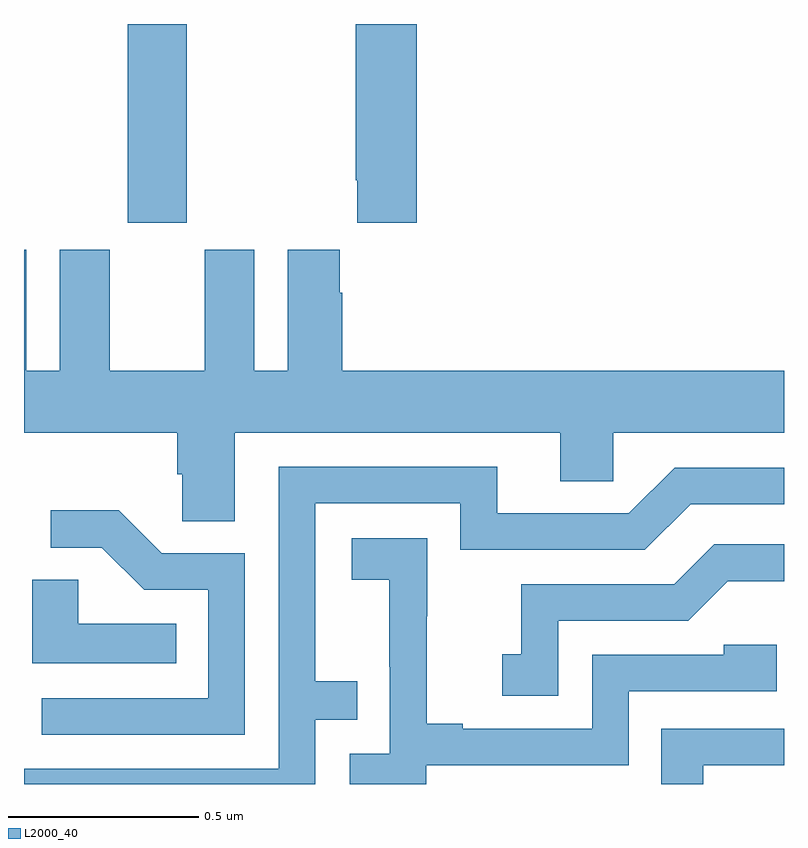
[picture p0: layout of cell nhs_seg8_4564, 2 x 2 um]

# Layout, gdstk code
import gdstk
lib = gdstk.Library(unit=1e-6, precision=1e-09)
def R(c, l, rs):  # rectangles x0, y0, x1, y1
    for r in rs: c.add(gdstk.rectangle(r[:2], r[2:], *l))
def P(c, l, *ps):  # polygons
    for p in ps: c.add(gdstk.Polygon(p, *l))
L2000_40 = (2000, 40)

nhs_seg8_4564 = lib.new_cell('nhs_seg8_4564')
R(nhs_seg8_4564, L2000_40, [(172.273,1126.377,172.428,1126.9)])
P(nhs_seg8_4564, L2000_40, [(173.033,1126.9),(172.873,1126.9),(172.873,1126.489),(172.877,1126.489),(172.877,1126.377),(173.033,1126.377)],
  [(172.555,1125.824),(173.411,1125.824),(173.411,1125.697),(173.55,1125.697),(173.55,1125.824),(174,1125.824),(174,1125.988),(172.838,1125.988),(172.838,1126.193),(172.831,1126.193),(172.831,1126.306),(172.694,1126.306),(172.694,1125.988),(172.606,1125.988),(172.606,1126.306),(172.475,1126.306),(172.475,1125.988),(172.225,1125.988),(172.225,1126.306),(172.094,1126.306),(172.094,1125.988),(172.006,1125.988),(172.006,1126.306),(172,1126.306),(172,1125.824),(172.403,1125.824),(172.403,1125.715),(172.416,1125.715),(172.416,1125.592),(172.555,1125.592)],
  [(172.767,1125.069),(172.877,1125.069),(172.877,1125.17),(172.767,1125.17),(172.767,1125.639),(173.148,1125.639),(173.148,1125.516),(173.634,1125.516),(173.754,1125.636),(174,1125.636),(174,1125.732),(173.712,1125.732),(173.592,1125.612),(173.245,1125.612),(173.245,1125.735),(172.671,1125.735),(172.671,1124.94),(172,1124.94),(172,1124.9),(172.767,1124.9)],
  [(172.581,1125.507),(172.362,1125.507),(172.249,1125.62),(172.071,1125.62),(172.071,1125.522),(172.205,1125.522),(172.316,1125.411),(172.485,1125.411),(172.485,1125.126),(172.047,1125.126),(172.047,1125.03),(172.581,1125.03)],
  [(173.058,1124.949),(173.592,1124.949),(173.592,1125.144),(173.981,1125.144),(173.981,1125.267),(173.841,1125.267),(173.841,1125.24),(173.496,1125.24),(173.496,1125.045),(173.155,1125.045),(173.155,1125.058),(173.06,1125.058),(173.06,1125.341),(173.061,1125.341),(173.061,1125.547),(172.863,1125.547),(172.863,1125.437),(172.961,1125.437),(172.961,1125.209),(172.962,1125.209),(172.962,1124.979),(172.857,1124.979),(172.857,1124.9),(173.058,1124.9)],
  [(173.406,1125.33),(173.748,1125.33),(173.852,1125.434),(174,1125.434),(174,1125.531),(173.816,1125.531),(173.711,1125.426),(173.308,1125.426),(173.308,1125.241),(173.259,1125.241),(173.259,1125.132),(173.406,1125.132)],
  [(172.4,1125.322),(172.143,1125.322),(172.143,1125.437),(172.022,1125.437),(172.022,1125.218),(172.4,1125.218)],
  [(173.788,1124.949),(174,1124.949),(174,1125.045),(173.677,1125.045),(173.677,1124.9),(173.788,1124.9)])

lib.write_gds('nhs_seg8_4564.gds')
